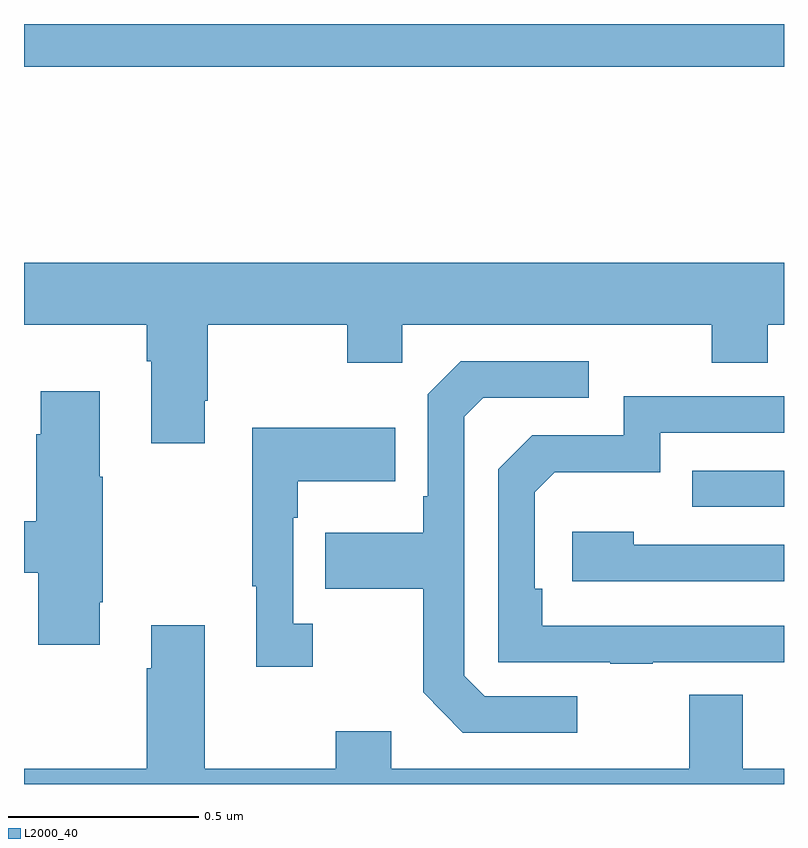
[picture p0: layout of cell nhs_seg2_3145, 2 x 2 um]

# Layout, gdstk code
import gdstk
lib = gdstk.Library(unit=1e-6, precision=1e-09)
def R(c, l, rs):  # rectangles x0, y0, x1, y1
    for r in rs: c.add(gdstk.rectangle(r[:2], r[2:], *l))
def P(c, l, *ps):  # polygons
    for p in ps: c.add(gdstk.Polygon(p, *l))
L2000_40 = (2000, 40)

nhs_seg2_3145 = lib.new_cell('nhs_seg2_3145')
R(nhs_seg2_3145, L2000_40, [(151.759,608.529,152,608.625), (150,609.688,152,609.8)])
P(nhs_seg2_3145, L2000_40, [(150.475,608.809),(150.483,608.809),(150.483,609.008),(150.85,609.008),(150.85,608.909),(150.996,608.909),(150.996,609.008),(151.81,609.008),(151.81,608.909),(151.957,608.909),(151.957,609.008),(152,609.008),(152,609.172),(150,609.172),(150,609.008),(150.323,609.008),(150.323,608.912),(150.335,608.912),(150.335,608.697),(150.475,608.697)],
  [(151.456,608.031),(151.212,608.031),(151.158,608.085),(151.158,608.766),(151.209,608.817),(151.486,608.817),(151.486,608.913),(151.149,608.913),(151.062,608.826),(151.062,608.557),(151.05,608.557),(151.05,608.461),(150.793,608.461),(150.793,608.314),(151.05,608.314),(151.05,608.041),(151.155,607.935),(151.456,607.935)],
  [(150.199,608.278),(150.207,608.278),(150.207,608.609),(150.199,608.609),(150.199,608.833),(150.044,608.833),(150.044,608.72),(150.032,608.72),(150.032,608.492),(150,608.492),(150,608.356),(150.037,608.356),(150.037,608.166),(150.199,608.166)],
  [(151.655,608.121),(152,608.121),(152,608.217),(151.364,608.217),(151.364,608.314),(151.344,608.314),(151.344,608.568),(151.397,608.621),(151.674,608.621),(151.674,608.724),(152,608.724),(152,608.82),(151.578,608.82),(151.578,608.718),(151.338,608.718),(151.248,608.628),(151.248,608.121),(151.543,608.121),(151.543,608.116),(151.655,608.116)],
  [(150.76,608.222),(150.708,608.222),(150.708,608.501),(150.721,608.501),(150.721,608.597),(150.977,608.597),(150.977,608.737),(150.6,608.737),(150.6,608.321),(150.611,608.321),(150.611,608.109),(150.76,608.109)],
  [(152,608.43),(151.604,608.43),(151.604,608.464),(151.443,608.464),(151.443,608.334),(152,608.334)],
  [(152,607.84),(151.891,607.84),(151.891,608.035),(151.751,608.035),(151.751,607.84),(150.967,607.84),(150.967,607.939),(150.82,607.939),(150.82,607.84),(150.475,607.84),(150.475,608.218),(150.335,608.218),(150.335,608.105),(150.323,608.105),(150.323,607.84),(150,607.84),(150,607.8),(152,607.8)])

lib.write_gds('nhs_seg2_3145.gds')
